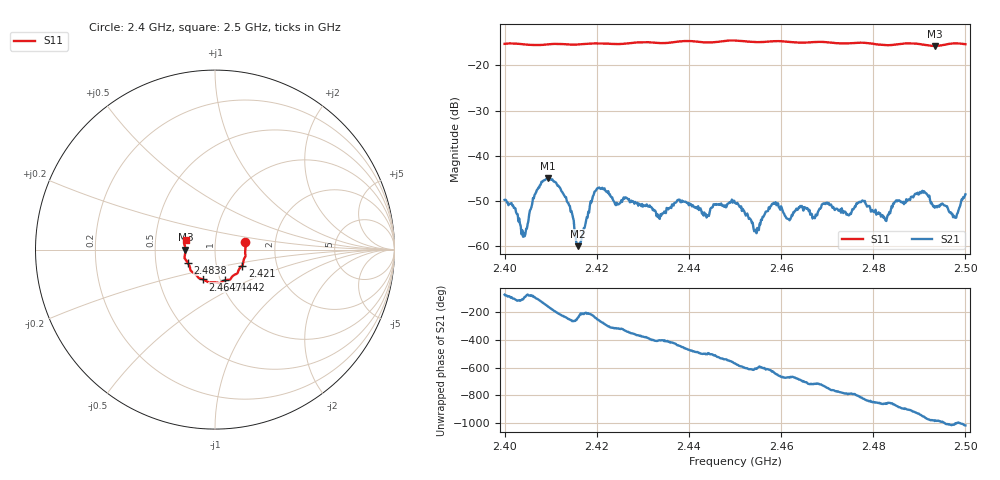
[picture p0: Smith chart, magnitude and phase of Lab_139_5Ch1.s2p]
# Hz S RI R 50
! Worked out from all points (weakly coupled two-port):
!   601 points, 2.4 GHz to 2.5 GHz, reference 50 ohm
!   highest |S21| = -45.01 dB at 2.4093 GHz (marker M1); lowest = -60.1 dB at 2.4158 GHz (marker M2)
!   lowest |S11| = -15.7 dB at 2.4933 GHz (marker M3), VSWR 1.39, Z = 35.8 + j0.0352 ohm
!   |S11| at or under -10 dB: start of sweep to end of sweep
!   S12 and S22 are empty: the file has one direction only
!   S11 on the Smith chart (normalised r, x): 2.4 GHz: 1.40, +0.12; 2.421 GHz: 1.33, -0.24; 2.4442 GHz: 1.05, -0.37; 2.4647 GHz: 0.83, -0.28; 2.4838 GHz: 0.73, -0.11; 2.5 GHz: 0.71, +0.08
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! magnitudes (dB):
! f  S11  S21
! 2.4 GHz  -15.2  -49.8
! 2.4042 GHz  -15.3  -57.2
! 2.4093 GHz  -15.3  -45.0
! 2.4137 GHz  -15.3  -50.4
! 2.4158 GHz  -15.3  -60.1
! 2.4167 GHz  -15.3  -58.6
! 2.421 GHz  -15.1  -47.3
! 2.4333 GHz  -15.0  -53.7
! 2.438 GHz  -14.7  -49.8
! 2.4442 GHz  -14.9  -53.2
! 2.45 GHz  -14.5  -50.5
! 2.4547 GHz  -14.8  -57.2
! 2.4583 GHz  -14.6  -50.7
! 2.4647 GHz  -14.9  -51.5
! 2.4667 GHz  -14.8  -53.0
! 2.4777 GHz  -14.9  -50.0
! 2.4833 GHz  -15.5  -53.1
! 2.4838 GHz  -15.5  -52.0
! 2.4907 GHz  -15.3  -47.8
! 2.4933 GHz  -15.7  -51.6
! 2.4978 GHz  -15.1  -53.8
! 2.5 GHz  -15.3  -48.6
